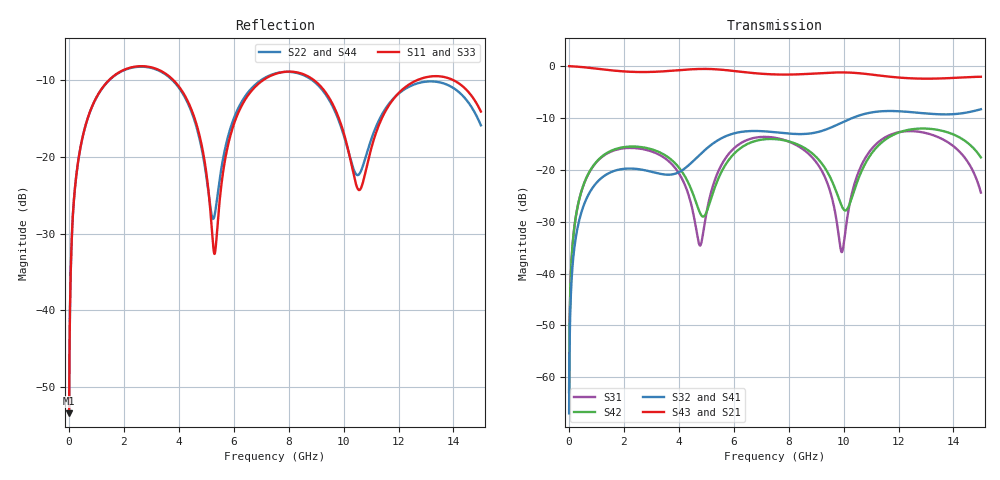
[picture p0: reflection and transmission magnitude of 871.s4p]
! Created with skrf 1.8.0 (http://scikit-rf.org).
# GHz S RI R 50.0
!freq ReS11 ImS11 ReS12 ImS12 ReS13 ImS13
! ReS14 ImS14
! ReS21 ImS21 ReS22 ImS22 ReS23 ImS23
! ReS24 ImS24
! ReS31 ImS31 ReS32 ImS32 ReS33 ImS33
! ReS34 ImS34
! ReS41 ImS41 ReS42 ImS42 ReS43 ImS43
! ReS44 ImS44
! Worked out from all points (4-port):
!   2499 points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, 5 MHz to 15 GHz, reference 50 ohm
!   strongest paths, dB at 5 MHz, 3.476 GHz, 7.19 GHz, 11.1 GHz, 15 GHz:
!     S43: 0.0, -1.0, -1.5, -1.7, -2.1
!     S21: 0.0, -1.0, -1.5, -1.7, -2.0
!     S32: -67.0, -20.9, -12.6, -8.9, -8.3
!     S41: -67.0, -20.9, -12.6, -8.9, -8.3
!     S42: -62.9, -17.1, -14.1, -16.3, -17.6
!     S31: -62.9, -17.7, -13.7, -15.5, -24.4
!   lowest |S11| = -53.4 dB at 5 MHz (marker M1), VSWR 1.00, Z = 50.2 + j0.129 ohm
!   |S11| at or under -10 dB: start of sweep to 1.449 GHz; 3.81 GHz to 7.057 GHz (3.248 GHz wide, 59.8 % of centre); 8.93 GHz to 12.66 GHz (3.73 GHz wide, 34.6 % of centre) (the widest 3 of 4)
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0.005  0.0017 0.00129  0.9983 -0.00331  8.68e-05 0.000713  -8.42e-05 -0.000441
       0.9983 -0.00331  0.0017 0.00129  -8.42e-05 -0.000441  8.7e-05 0.000713
       8.68e-05 0.000713  -8.42e-05 -0.000441  0.0017 0.00129  0.9983 -0.00331
       -8.42e-05 -0.000441  8.7e-05 0.000713  0.9983 -0.00331  0.0017 0.00129
0.3126303  0.0256 0.0843  0.965 -0.2055  0.012 0.0422  -0.0102 -0.0257
           0.965 -0.2055  0.0255 0.0843  -0.0102 -0.0257  0.0127 0.042
           0.012 0.0422  -0.0102 -0.0257  0.0256 0.0843  0.965 -0.2055
           -0.0102 -0.0257  0.0127 0.042  0.965 -0.2055  0.0255 0.0843
1.569404  0.2847 0.169  0.5174 -0.7465  0.1357 0.0668  -0.0958 -0.000543
          0.5174 -0.7465  0.2817 0.1712  -0.0959 -0.000452  0.1439 0.0548
          0.1357 0.0668  -0.0959 -0.000452  0.2845 0.169  0.5174 -0.7465
          -0.0958 -0.000543  0.1439 0.0548  0.5174 -0.7465  0.2816 0.1711
5.133389  0.0248 -0.0412  -0.9254 -0.1494  0.0217 0.0507  -0.0249 0.1686
          -0.9254 -0.1494  0.0404 -0.0287  -0.0235 0.1688  -0.0307 0.038
          0.0217 0.0507  -0.0235 0.1688  0.0243 -0.0399  -0.9254 -0.1493
          -0.0249 0.1686  -0.0307 0.038  -0.9254 -0.1493  0.0402 -0.0272
8.209671  0.3564 -0.0422  0.00451 0.8298  0.1581 -0.0795  0.2095 -0.0692
          0.00451 0.8298  0.3534 -0.044  0.2096 -0.0725  0.1547 -0.093
          0.1581 -0.0795  0.2096 -0.0725  0.3545 -0.0401  0.0033 0.8304
          0.2095 -0.0692  0.1547 -0.093  0.0033 0.8304  0.3527 -0.0447
10.90454  0.0801 0.0539  0.8351 -0.0349  0.0572 0.133  -0.0338 -0.351
          0.8351 -0.0349  0.099 0.0575  -0.0397 -0.3505  0.0426 0.1223
          0.0572 0.133  -0.0397 -0.3505  0.081 0.0598  0.8347 -0.0342
          -0.0338 -0.351  0.0426 0.1223  0.8347 -0.0342  0.0988 0.0653
15  0.1338 -0.1459  -0.5413 -0.5767  0.0281 -0.0534  -0.2672 0.2754
    -0.5413 -0.5767  0.1318 -0.0925  -0.2597 0.2824  -0.0177 -0.1305
    0.0281 -0.0534  -0.2597 0.2824  0.1421 -0.1503  -0.5325 -0.5827
    -0.2672 0.2754  -0.0177 -0.1305  -0.5325 -0.5827  0.1402 -0.0988
